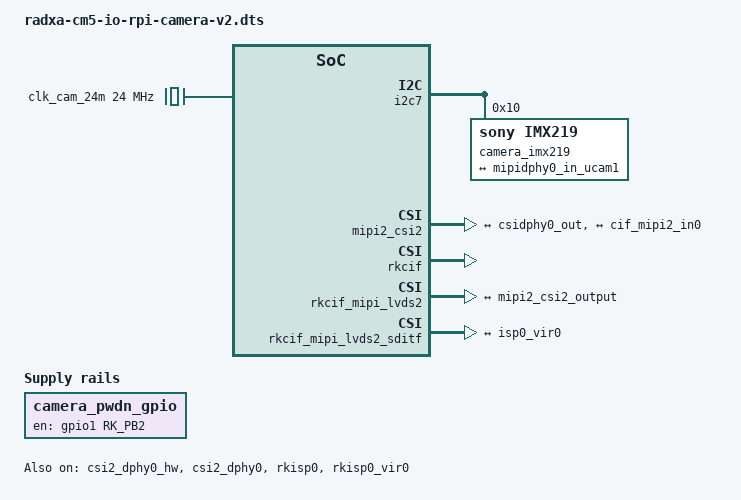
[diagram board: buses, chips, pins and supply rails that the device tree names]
/dts-v1/;
/plugin/;

#include <dt-bindings/gpio/gpio.h>
#include <dt-bindings/pinctrl/rockchip.h>

/ {
	metadata {
		title ="Enable Raspberry Pi Camera V2 on CSI0";
		compatible = "radxa,cm5-io";
		category = "camera";
		exclusive = "csi2_dphy0";
		description = "Enable Raspberry Pi Camera V2 on CSI1.";
	};


	fragment@0 {
		target-path = "/";

		__overlay__ {
			camera_pwdn_gpio: camera-pwdn-gpio {
				compatible = "regulator-fixed";
				regulator-name = "camera_pwdn_gpio";
				regulator-always-on;
				regulator-boot-on;
				enable-active-high;
				gpio = <&gpio1 RK_PB2 GPIO_ACTIVE_HIGH>;
				pinctrl-names = "default";
				pinctrl-0 = <&cam_pwdn_gpio>;
			};

			clk_cam_24m: external-camera-clock-24m {
				compatible = "fixed-clock";
				clock-frequency = <24000000>;
				clock-output-names = "clk_cam_24m";
				#clock-cells = <0>;
			};
		};
	};

	fragment@1 {
		target = <&i2c7>;

		__overlay__ {
			status = "okay";
			pinctrl-0 = <&i2c7m2_xfer>;
			#address-cells = <1>;
			#size-cells = <0>;

			camera_imx219: camera-imx219@10 {
				compatible = "sony,imx219";
				reg = <0x10>;

				clocks = <&clk_cam_24m>;
				clock-names = "xvclk";

				rockchip,camera-module-index = <0>;
				rockchip,camera-module-facing = "back";
				rockchip,camera-module-name = "rpi-camera-v2";
				rockchip,camera-module-lens-name = "default";

				port {
					imx219_out0: endpoint {
						remote-endpoint = <&mipidphy0_in_ucam1>;
						data-lanes = <1 2>;
					};
				};
			};
		};
	};

	fragment@2 {
		target = <&csi2_dphy0_hw>;

		__overlay__ {
			status = "okay";
		};
	};

	fragment@3 {
		target = <&csi2_dphy0>;

		__overlay__ {
			status = "okay";

			ports {
				#address-cells = <1>;
				#size-cells = <0>;

				port@0 {
					reg = <0>;
					#address-cells = <1>;
					#size-cells = <0>;

					mipidphy0_in_ucam1: endpoint@2 {
						reg = <2>;
						remote-endpoint = <&imx219_out0>;
						data-lanes = <1 2>;
					};
				};

				port@1 {
					reg = <1>;
					#address-cells = <1>;
					#size-cells = <0>;

					csidphy0_out: endpoint@0 {
						reg = <0>;
						remote-endpoint = <&mipi2_csi2_input>;
					};
				};
			};
		};
	};

	fragment@4 {
		target = <&mipi2_csi2>;

		__overlay__ {
			status = "okay";

			ports {
				#address-cells = <1>;
				#size-cells = <0>;

				port@0 {
					reg = <0>;
					#address-cells = <1>;
					#size-cells = <0>;

					mipi2_csi2_input: endpoint@1 {
						reg = <1>;
						remote-endpoint = <&csidphy0_out>;
					};
				};

				port@1 {
					reg = <1>;
					#address-cells = <1>;
					#size-cells = <0>;

					mipi2_csi2_output: endpoint@0 {
						reg = <0>;
						remote-endpoint = <&cif_mipi2_in0>;
					};
				};
			};
		};
	};

	fragment@5 {
		target = <&rkcif>;

		__overlay__ {
			status = "okay";
		};
	};

	fragment@6 {
		target = <&rkcif_mipi_lvds2>;

		__overlay__ {
			status = "okay";

			port {
				cif_mipi2_in0: endpoint {
				remote-endpoint = <&mipi2_csi2_output>;
				};
			};
		};
	};

	fragment@7 {
		target = <&rkcif_mipi_lvds2_sditf>;

		__overlay__ {
			status = "okay";

			port {
				mipi_lvds2_sditf: endpoint {
					remote-endpoint = <&isp0_vir0>;
				};
			};
		};
	};

	fragment@8 {
		target = <&rkcif_mmu>;

		__overlay__ {
			status = "okay";
		};
	};

	fragment@9 {
		target = <&isp0_mmu>;

		__overlay__ {
			status = "okay";
		};
	};

	fragment@10 {
		target = <&rkisp0>;

		__overlay__ {
			status = "okay";
		};
	};

	fragment@11 {
		target = <&rkisp0_vir0>;

		__overlay__ {
			status = "okay";

			port {
				#address-cells = <1>;
				#size-cells = <0>;

				isp0_vir0: endpoint@0 {
					reg = <0>;
					remote-endpoint = <&mipi_lvds2_sditf>;
				};
			};
		};
	};

	fragment@12 {
		target = <&pinctrl>;

		__overlay__ {
			camera {
				cam_pwdn_gpio: cam-pwdn-gpio {
					rockchip,pins = <1 RK_PB2 RK_FUNC_GPIO &pcfg_pull_up>;
				};
			};
		};
	};
};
